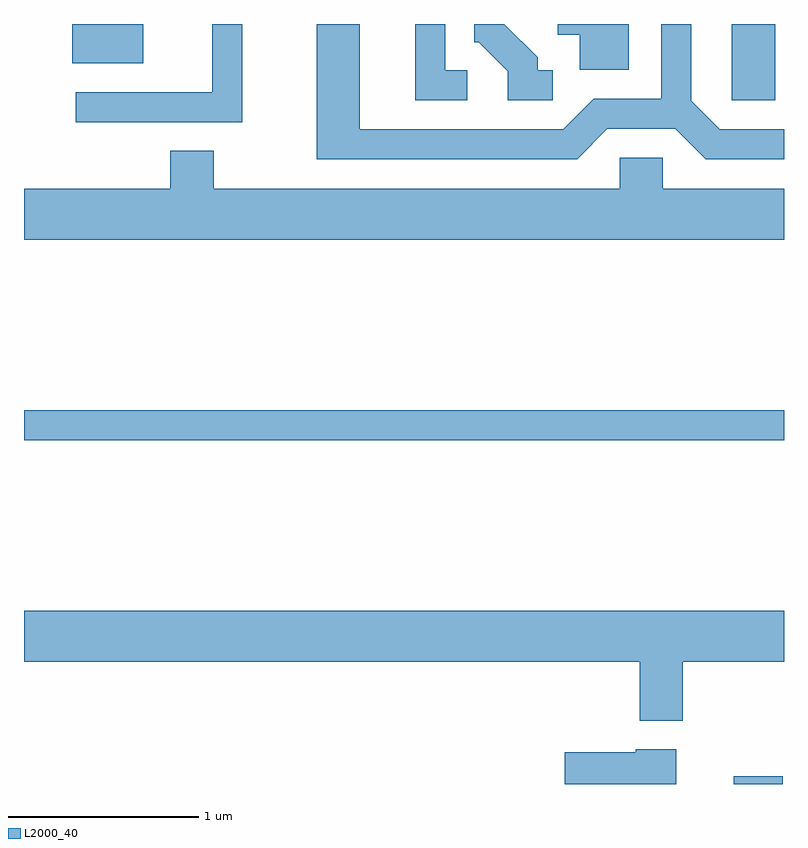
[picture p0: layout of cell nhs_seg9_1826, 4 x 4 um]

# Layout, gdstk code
import gdstk
lib = gdstk.Library(unit=1e-6, precision=1e-09)
def R(c, l, rs):  # rectangles x0, y0, x1, y1
    for r in rs: c.add(gdstk.rectangle(r[:2], r[2:], *l))
def P(c, l, *ps):  # polygons
    for p in ps: c.add(gdstk.Polygon(p, *l))
L2000_40 = (2000, 40)

nhs_seg9_1826 = lib.new_cell('nhs_seg9_1826')
R(nhs_seg9_1826, L2000_40, [(241.346,2064.432,241.604,2064.474), (237.611,2066.241,241.611,2066.399), (241.336,2068.031,241.564,2068.432), (237.866,2068.226,238.239,2068.432)])
P(nhs_seg9_1826, L2000_40, [(240.682,2067.881),(241.039,2067.881),(241.199,2067.721),(241.611,2067.721),(241.611,2067.879),(241.272,2067.879),(241.124,2068.027),(241.124,2068.432),(240.966,2068.432),(240.966,2068.039),(240.609,2068.039),(240.449,2067.879),(239.379,2067.879),(239.379,2068.432),(239.151,2068.432),(239.151,2067.721),(240.522,2067.721)],
  [(238.759,2068.432),(238.601,2068.432),(238.601,2068.074),(237.883,2068.074),(237.883,2067.916),(238.759,2067.916)],
  [(239.943,2068.189),(239.829,2068.189),(239.829,2068.432),(239.671,2068.432),(239.671,2068.031),(239.943,2068.031)],
  [(240.794,2068.432),(240.421,2068.432),(240.421,2068.376),(240.536,2068.376),(240.536,2068.191),(240.794,2068.191)],
  [(240.393,2068.189),(240.314,2068.189),(240.314,2068.257),(240.139,2068.432),(239.981,2068.432),(239.981,2068.336),(240.004,2068.336),(240.156,2068.184),(240.156,2068.031),(240.393,2068.031)],
  [(241.611,2067.564),(240.974,2067.564),(240.974,2067.729),(240.746,2067.729),(240.746,2067.564),(238.609,2067.564),(238.609,2067.764),(238.381,2067.764),(238.381,2067.564),(237.611,2067.564),(237.611,2067.296),(241.611,2067.296)],
  [(241.079,2065.076),(241.611,2065.076),(241.611,2065.344),(237.611,2065.344),(237.611,2065.076),(240.851,2065.076),(240.851,2064.766),(241.079,2064.766)],
  [(241.044,2064.614),(240.83,2064.614),(240.83,2064.599),(240.456,2064.599),(240.456,2064.432),(241.044,2064.432)])

lib.write_gds('nhs_seg9_1826.gds')
